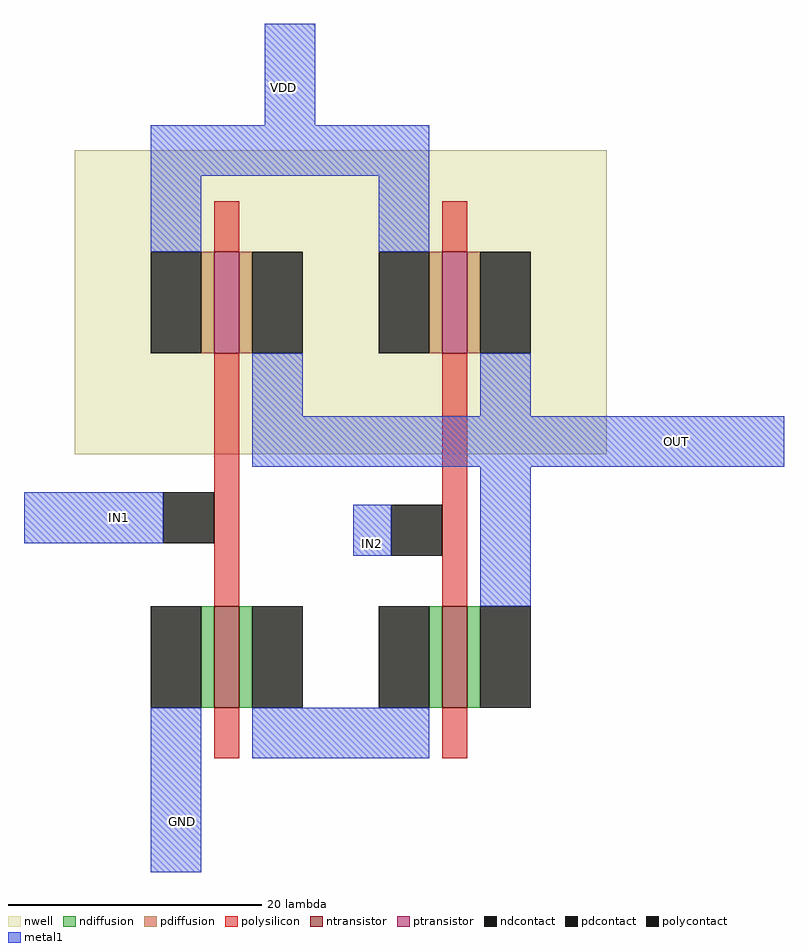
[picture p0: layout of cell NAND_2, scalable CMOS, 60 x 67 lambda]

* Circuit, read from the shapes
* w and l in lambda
.subckt NAND_2 GND IN1 IN2 OUT VDD
M1 n1 IN1 GND VSUBS nfet w=8 l=2
M2 OUT IN2 n1 VSUBS nfet w=8 l=2
M3 OUT IN1 VDD n2 pfet w=8 l=2
M4 OUT IN2 VDD n2 pfet w=8 l=2
.ends

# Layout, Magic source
magic
tech scmos
<< nwell >>
rect -7 -3 35 21
<< ntransistor >>
rect 4 -23 6 -15
rect 22 -23 24 -15
<< ptransistor >>
rect 4 5 6 13
rect 22 5 24 13
<< ndiffusion >>
rect 3 -23 4 -15
rect 6 -23 7 -15
rect 21 -23 22 -15
rect 24 -23 25 -15
<< pdiffusion >>
rect 3 5 4 13
rect 6 5 7 13
rect 21 5 22 13
rect 24 5 25 13
<< ndcontact >>
rect -1 -23 3 -15
rect 7 -23 11 -15
rect 17 -23 21 -15
rect 25 -23 29 -15
<< pdcontact >>
rect -1 5 3 13
rect 7 5 11 13
rect 17 5 21 13
rect 25 5 29 13
<< polysilicon >>
rect 4 13 6 17
rect 22 13 24 17
rect 4 -15 6 5
rect 22 -15 24 5
rect 4 -27 6 -23
rect 22 -27 24 -23
<< polycontact >>
rect 0 -10 4 -6
rect 18 -11 22 -7
<< metal1 >>
rect 8 23 12 31
rect -1 19 21 23
rect -1 13 3 19
rect 17 13 21 19
rect 7 0 11 5
rect 25 0 29 5
rect 7 -4 49 0
rect -11 -10 0 -6
rect 15 -11 18 -7
rect 25 -15 29 -4
rect -1 -36 3 -23
rect 7 -27 21 -23
<< labels >>
rlabel metal1 9 25 10 27 5 VDD
rlabel metal1 1 -33 2 -31 1 GND
rlabel metal1 40 -3 41 -1 1 OUT
rlabel metal1 -4 -9 -3 -7 1 IN1
rlabel metal1 16 -11 17 -9 1 IN2
<< end >>
